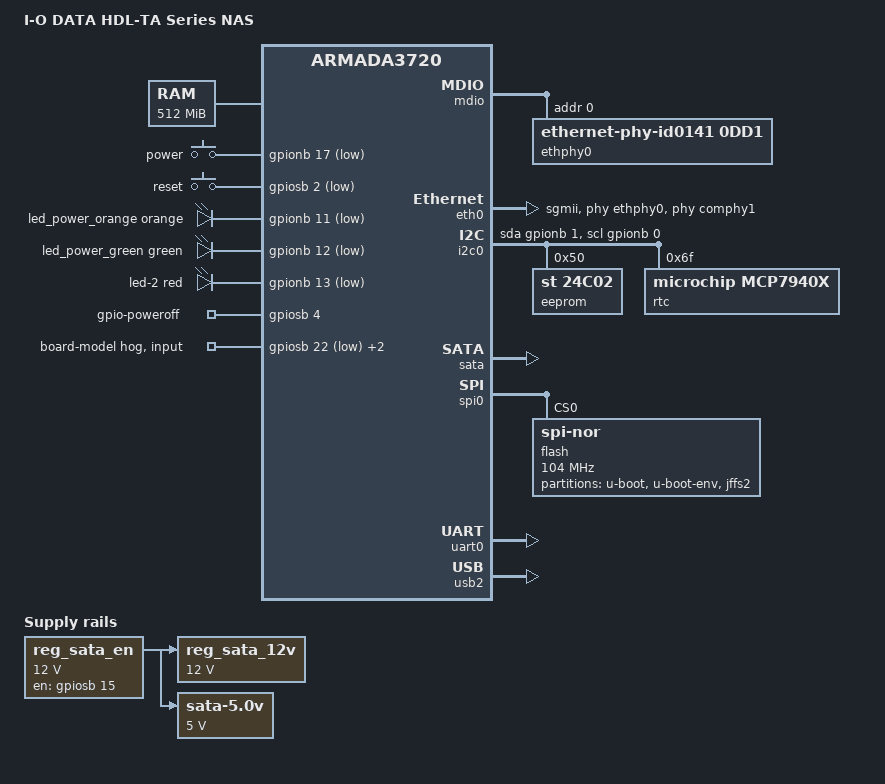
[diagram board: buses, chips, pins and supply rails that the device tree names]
// SPDX-License-Identifier: (GPL-2.0-or-later OR MIT)

/dts-v1/;
#include <dt-bindings/gpio/gpio.h>
#include <dt-bindings/input/input.h>
#include <dt-bindings/interrupt-controller/irq.h>
#include <dt-bindings/leds/common.h>
#include "armada-372x.dtsi"

/ {
	model = "I-O DATA HDL-TA Series NAS";
	compatible = "iodata,hdl-ta", "marvell,armada3720";

	aliases {
		led-boot = &led_power_green;
		led-failsafe = &led_power_orange;
		led-running = &led_power_green;
		led-upgrade = &led_power_green;
		label-mac-device = &eth0;
	};

	chosen {
		bootargs-append = " earlycon init=/sbin/init";
		stdout-path = "serial0:115200n8";
	};

	memory@0 {
		device_type = "memory";
		reg = <0x00000000 0x00000000 0x00000000 0x20000000>;
	};

	firmware {
		armada-3700-rwtm {
			status = "disabled";
		};
	};

	keys {
		compatible = "gpio-keys";
		pinctrl-0 = <&nb_button_pins &sb_button_pins>;
		pinctrl-names = "default";

		button-power {
			label = "power";
			linux,code = <KEY_POWER>;
			gpios = <&gpionb 17 GPIO_ACTIVE_LOW>;
		};

		button-reset {
			label = "reset";
			linux,code = <KEY_RESTART>;
			gpios = <&gpiosb 2 GPIO_ACTIVE_LOW>;
		};
	};

	leds {
		compatible = "gpio-leds";
		pinctrl-0 = <&nb_led_pins>;
		pinctrl-names = "default";

		led_power_orange: led-0 {
			color = <LED_COLOR_ID_ORANGE>;
			function = LED_FUNCTION_POWER;
			gpios = <&gpionb 11 GPIO_ACTIVE_LOW>;
		};

		led_power_green: led-1 {
			color = <LED_COLOR_ID_GREEN>;
			function = LED_FUNCTION_POWER;
			gpios = <&gpionb 12 GPIO_ACTIVE_LOW>;
		};

		led-2 {
			color = <LED_COLOR_ID_RED>;
			function = LED_FUNCTION_POWER;
			gpios = <&gpionb 13 GPIO_ACTIVE_LOW>;
		};
	};

	gpio-poweroff {
		compatible = "gpio-poweroff";
		gpios = <&gpiosb 4 GPIO_ACTIVE_HIGH>;
		pinctrl-0 = <&sb_poweroff_pins>;
		pinctrl-names = "default";
	};

	regulators-sata {
		compatible = "simple-bus";

		reg_sata_en: regulator-sata-en {
			compatible = "regulator-fixed";
			gpios = <&gpiosb 15 GPIO_ACTIVE_HIGH>;
			pinctrl-0 = <&sb_regulator_sata_pins>;
			pinctrl-names = "default";
			regulator-name = "sata-en";
			regulator-min-microvolt = <12000000>;
			regulator-max-microvolt = <12000000>;
			regulator-always-on;
			regulator-boot-on;
			enable-active-high;
		};

		reg_sata_12v: regulator-sata-12v {
			compatible = "regulator-fixed";
			regulator-name = "sata-12.0v";
			regulator-min-microvolt = <12000000>;
			regulator-max-microvolt = <12000000>;
			regulator-always-on;
			vin-supply = <&reg_sata_en>;
		};

		regulator-sata-5v {
			compatible = "regulator-fixed";
			regulator-name = "sata-5.0v";
			regulator-min-microvolt = <5000000>;
			regulator-max-microvolt = <5000000>;
			regulator-always-on;
			vin-supply = <&reg_sata_en>;
		};
	};

	thermal-zones {
		hdd-thermal {
			polling-delay = <20000>;
			polling-delay-passive = <2000>;

			thermal-sensors = <&sata>;

			trips {
				passive {
					temperature = <45000>;
					hysteresis = <2000>;
					type = "passive";
				};

				hot {
					temperature = <50000>;
					hysteresis = <2000>;
					type = "hot";
				};

				critical {
					temperature = <60000>;
					hysteresis = <6000>;
					type = "critical";
				};
			};
		};
	};
};

&mdio {
	/* Marvell 88E1512 */
	ethphy0: ethernet-phy@0 {
		compatible = "ethernet-phy-id0141,0dd1",
			     "ethernet-phy-ieee802.3-c22";
		reg = <0>;
		/*
		 * enabling IRQ breaks WoL support, disable ATM
		 *
		 * interrupt-parent = <&gpiosb>;
		 * interrupts = <0 IRQ_TYPE_EDGE_FALLING>;
		*/
	};
};

&eth0 {
	status = "okay";

	nvmem-cells = <&macaddr_ubootenv_ethaddr>;
	nvmem-cell-names = "mac-address";
	phy-handle = <&ethphy0>;
	phy-mode = "sgmii";
	phys = <&comphy1 0>;
};

&pinctrl_nb {
	nb_button_pins: button-pins {
		groups = "spi_cs1";
		function = "gpio";
	};

	nb_i2c1_recovery_pins: i2c-recovery-pins {
		groups = "i2c1";
		function = "gpio";
	};

	nb_led_pins: led-pins {
		groups = "pwm0", "pwm1", "pwm2";
		function = "gpio";
	};
};

&pinctrl_sb {
	pinctrl-0 = <&sb_board_model_pins>;
	pinctrl-names = "default";

	sb_board_model_pins: board-model-pins {
		groups = "ptp", "ptp_clk", "ptp_trig";
		function = "gpio";
	};

	sb_button_pins: button-pins {
		groups = "gpio2_2";
		function = "gpio";
	};

	sb_poweroff_pins: poweroff-pins {
		groups = "pcie1_clkreq";
		function = "gpio";
	};

	sb_regulator_sata_pins: regulator-sata-pins {
		groups = "rgmii";
		function = "gpio";
	};
};

&gpiosb {
	board-model {
		gpio-hog;
		gpios = <22 GPIO_ACTIVE_LOW>,
			<21 GPIO_ACTIVE_LOW>,
			<20 GPIO_ACTIVE_LOW>;
		input;
		line-name = "board-model";
	};
};

&i2c0 {
	status = "okay";

	pinctrl-0 = <&i2c1_pins>;
	pinctrl-1 = <&nb_i2c1_recovery_pins>;
	pinctrl-names = "default", "recovery";
	scl-gpios = <&gpionb 0 (GPIO_ACTIVE_HIGH | GPIO_OPEN_DRAIN)>;
	sda-gpios = <&gpionb 1 (GPIO_ACTIVE_HIGH | GPIO_OPEN_DRAIN)>;

	eeprom@50 {
		compatible = "st,24c02", "atmel,24c02";
		reg = <0x50>;
		pagesize = <32>;

		nvmem-layout {
			compatible = "fixed-layout";
			#address-cells = <1>;
			#size-cells = <1>;

			device-uptime@4 {
				reg = <0x4 0x4>;
			};

			fan-uptime@8 {
				reg = <0x8 0x4>;
			};

			power-uptime@c {
				reg = <0xc 0x4>;
			};

			power-cycle@10 {
				reg = <0x10 0x4>;
			};

			fan-fail@14 {
				reg = <0x14 0x4>;
			};

			temperature-fail@18 {
				reg = <0x18 0x4>;
			};

			no-warranty@1c {
				reg = <0x1c 0x1>;
			};

			auto-power-on@1d {
				reg = <0x1d 0x1>;
			};

			wake-on-lan@1e {
				reg = <0x1e 0x1>;
			};
		};
	};

	rtc@6f {
		compatible = "microchip,mcp7940x";
		reg = <0x6f>;
		wakeup-source;
	};
};

&sata {
	status = "okay";

	target-supply = <&reg_sata_en>;
	#thermal-sensor-cells = <0>;
};

&spi0 {
	status = "okay";

	flash@0 {
		reg = <0>;
		compatible = "jedec,spi-nor";
		spi-max-frequency = <104000000>;
		m25p,fast-read;

		partitions {
			compatible = "fixed-partitions";
			#address-cells = <1>;
			#size-cells = <1>;

			partition@0 {
				label = "u-boot";
				reg = <0 0xf0000>;
				read-only;
			};

			partition@f0000 {
				label = "u-boot-env";
				reg = <0xf0000 0x10000>;

				nvmem-layout {
					compatible = "u-boot,env";

					macaddr_ubootenv_ethaddr: ethaddr {
					};
				};
			};

			partition@100000 {
				label = "jffs2";
				reg = <0x100000 0x100000>;
				read-only;
			};
		};
	};
};

&uart0 {
	status = "okay";

	pinctrl-0 = <&uart1_pins>;
	pinctrl-names = "default";
};

&usb2 {
	status = "okay";
};
